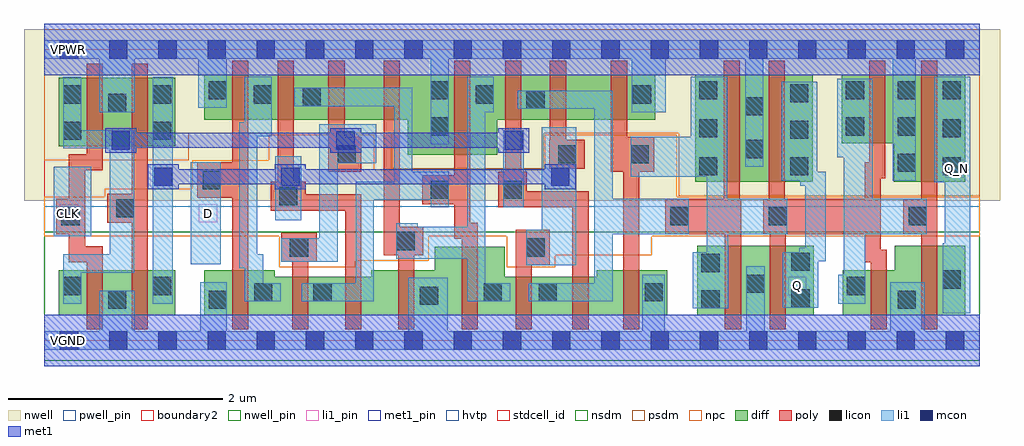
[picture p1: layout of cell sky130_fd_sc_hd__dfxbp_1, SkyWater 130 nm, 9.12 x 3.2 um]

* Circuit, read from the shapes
.subckt sky130_fd_sc_hd__dfxbp_1 CLK D Q Q_N VGND VNB VPB VPWR
XM1 VGND CLK n1 VNB sky130_fd_pr__nfet_01v8 w=0.42 l=0.15
XM2 n2 n1 VGND VNB sky130_fd_pr__nfet_01v8 w=0.42 l=0.15
XM3 n3 D VGND VNB sky130_fd_pr__nfet_01v8 w=0.42 l=0.15
XM4 n4 n1 n3 VNB sky130_fd_pr__nfet_01v8 w=0.36 l=0.15
XM5 n5 n2 n4 VNB sky130_fd_pr__nfet_01v8 w=0.36 l=0.15
XM6 VGND n6 n5 VNB sky130_fd_pr__nfet_01v8 w=0.42 l=0.15
XM7 n6 n4 VGND VNB sky130_fd_pr__nfet_01v8 w=0.64 l=0.15
XM8 n7 n2 n6 VNB sky130_fd_pr__nfet_01v8 w=0.36 l=0.15
XM9 n8 n1 n7 VNB sky130_fd_pr__nfet_01v8 w=0.36 l=0.15
XM10 VGND n9 n8 VNB sky130_fd_pr__nfet_01v8 w=0.42 l=0.15
XM11 VGND n7 n9 VNB sky130_fd_pr__nfet_01v8 w=0.65 l=0.15
XM12 Q n9 VGND VNB sky130_fd_pr__nfet_01v8 w=0.65 l=0.15
XM13 VGND n9 n10 VNB sky130_fd_pr__nfet_01v8 w=0.42 l=0.15
XM14 Q_N n10 VGND VNB sky130_fd_pr__nfet_01v8 w=0.65 l=0.15
XM15 VPWR CLK n1 VPB sky130_fd_pr__pfet_01v8_hvt w=0.64 l=0.15
XM16 n2 n1 VPWR VPB sky130_fd_pr__pfet_01v8_hvt w=0.64 l=0.15
XM17 n3 D VPWR VPB sky130_fd_pr__pfet_01v8_hvt w=0.42 l=0.15
XM18 n4 n2 n3 VPB sky130_fd_pr__pfet_01v8_hvt w=0.42 l=0.15
XM19 n11 n1 n4 VPB sky130_fd_pr__pfet_01v8_hvt w=0.42 l=0.15
XM20 VPWR n6 n11 VPB sky130_fd_pr__pfet_01v8_hvt w=0.42 l=0.15
XM21 n6 n4 VPWR VPB sky130_fd_pr__pfet_01v8_hvt w=0.75 l=0.15
XM22 n7 n1 n6 VPB sky130_fd_pr__pfet_01v8_hvt w=0.42 l=0.15
XM23 n12 n2 n7 VPB sky130_fd_pr__pfet_01v8_hvt w=0.42 l=0.15
XM24 VPWR n9 n12 VPB sky130_fd_pr__pfet_01v8_hvt w=0.42 l=0.15
XM25 VPWR n7 n9 VPB sky130_fd_pr__pfet_01v8_hvt w=1 l=0.15
XM26 Q n9 VPWR VPB sky130_fd_pr__pfet_01v8_hvt w=1 l=0.15
XM27 VPWR n9 n10 VPB sky130_fd_pr__pfet_01v8_hvt w=0.64 l=0.15
XM28 Q_N n10 VPWR VPB sky130_fd_pr__pfet_01v8_hvt w=1 l=0.15
.ends

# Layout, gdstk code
import gdstk
lib = gdstk.Library(unit=1e-6, precision=1e-09)
def R(c, l, rs):  # rectangles x0, y0, x1, y1
    for r in rs: c.add(gdstk.rectangle(r[:2], r[2:], *l))
def A(c, l, x, y, w, h, nx, ny, dx, dy):  # array of equal rectangles
    R(c, l, [(x+i*dx, y+j*dy, x+i*dx+w, y+j*dy+h) for i in range(nx) for j in range(ny)])
def P(c, l, *ps):  # polygons
    for p in ps: c.add(gdstk.Polygon(p, *l))
nwell_pin = (64, 16)
nwell = (64, 20)
diff = (65, 20)
poly = (66, 20)
licon = (66, 44)
li1_pin = (67, 16)
li1 = (67, 20)
mcon = (67, 44)
met1_pin = (68, 16)
met1 = (68, 20)
hvtp = (78, 44)
stdcell_id = (81, 4)
nsdm = (93, 44)
psdm = (94, 20)
npc = (95, 20)
pwell_pin = (122, 16)
boundary2 = (236, 0)

sky130_fd_sc_hd__dfxbp_1 = lib.new_cell('sky130_fd_sc_hd__dfxbp_1')
R(sky130_fd_sc_hd__dfxbp_1, nwell_pin, [(0.145,2.635,0.315,2.805), (0.145,2.635,0.315,2.805)])
R(sky130_fd_sc_hd__dfxbp_1, nwell, [(-0.19,1.305,8.93,2.91)])
R(sky130_fd_sc_hd__dfxbp_1, diff, [(0.135,0.235,1.225,0.655), (6.1,0.235,7.19,0.885), (6.08,1.485,7.18,2.485), (0.135,1.815,1.225,2.455)])
P(sky130_fd_sc_hd__dfxbp_1, diff, [(5.71,2.485),(1.495,2.485),(1.495,2.065),(3.395,2.065),(3.395,1.735),(4.23,1.735),(4.23,2.065),(5.71,2.065)],
  [(5.82,0.655),(5.16,0.655),(5.16,0.595),(4.3,0.595),(4.3,0.875),(3.65,0.875),(3.65,0.655),(3.055,0.655),(3.055,0.595),(2.155,0.595),(2.155,0.655),(1.495,0.655),(1.495,0.235),(5.82,0.235)],
  [(8.605,2.485),(7.45,2.485),(7.45,1.845),(7.935,1.845),(7.935,1.485),(8.605,1.485)],
  [(8.605,0.885),(7.945,0.885),(7.945,0.655),(7.46,0.655),(7.46,0.235),(8.605,0.235)])
P(sky130_fd_sc_hd__dfxbp_1, poly, [(0.545,0.88),(0.38,0.88),(0.38,1.59),(0.545,1.59),(0.545,2.585),(0.395,2.585),(0.395,1.74),(0.23,1.74),(0.23,1.325),(0.11,1.325),(0.11,0.995),(0.23,0.995),(0.23,0.73),(0.395,0.73),(0.395,0.105),(0.545,0.105)],
  [(0.965,2.585),(0.815,2.585),(0.815,1.37),(0.59,1.37),(0.59,1.1),(0.815,1.1),(0.815,0.105),(0.965,0.105)],
  [(1.905,2.615),(1.755,2.615),(1.755,1.665),(1.43,1.665),(1.43,1.335),(1.755,1.335),(1.755,0.105),(1.905,0.105)],
  [(2.545,1.005),(2.215,1.005),(2.215,0.735),(2.315,0.735),(2.315,0.105),(2.465,0.105),(2.465,0.735),(2.545,0.735)],
  [(2.96,1.905),(2.805,1.905),(2.805,2.615),(2.655,2.615),(2.655,1.575),(2.96,1.575)],
  [(2.96,1.365),(2.445,1.365),(2.445,1.485),(2.33,1.485),(2.33,2.615),(2.18,2.615),(2.18,1.485),(2.115,1.485),(2.115,1.215),(2.81,1.215),(2.81,0.105),(2.96,0.105)],
  [(3.54,1.065),(3.32,1.065),(3.32,2.615),(3.17,2.615),(3.17,0.795),(3.305,0.795),(3.305,0.105),(3.455,0.105),(3.455,0.795),(3.54,0.795)],
  [(5.7,1.905),(5.445,1.905),(5.445,2.615),(5.295,2.615),(5.295,1.575),(5.41,1.575),(5.41,0.105),(5.56,0.105),(5.56,1.575),(5.7,1.575)],
  [(6.51,1.325),(6.5,1.325),(6.5,2.615),(6.35,2.615),(6.35,1.325),(5.8,1.325),(5.8,0.995),(6.36,0.995),(6.36,0.105),(6.51,0.105)],
  [(7.87,0.85),(7.815,0.85),(7.815,1.515),(7.86,1.515),(7.86,2.615),(7.71,2.615),(7.71,1.665),(7.665,1.665),(7.665,1.325),(6.92,1.325),(6.92,2.615),(6.77,2.615),(6.77,1.325),(6.72,1.325),(6.72,0.995),(6.78,0.995),(6.78,0.105),(6.93,0.105),(6.93,0.995),(7.665,0.995),(7.665,0.73),(7.72,0.73),(7.72,0.105),(7.87,0.105)],
  [(4.05,1.1),(3.98,1.1),(3.98,2.615),(3.83,2.615),(3.83,1.545),(3.53,1.545),(3.53,1.275),(3.83,1.275),(3.83,0.95),(3.9,0.95),(3.9,0.105),(4.05,0.105)],
  [(4.725,1.035),(4.405,1.035),(4.405,0.105),(4.555,0.105),(4.555,0.705),(4.725,0.705)],
  [(8.345,2.615),(8.195,2.615),(8.195,1.325),(8.025,1.325),(8.025,0.995),(8.195,0.995),(8.195,0.105),(8.345,0.105)],
  [(5.05,1.875),(4.875,1.875),(4.875,2.615),(4.725,2.615),(4.725,1.875),(4.72,1.875),(4.72,1.605),(5.05,1.605)],
  [(5.085,1.395),(4.51,1.395),(4.51,1.575),(4.455,1.575),(4.455,2.615),(4.305,2.615),(4.305,1.575),(4.24,1.575),(4.24,1.245),(4.935,1.245),(4.935,0.105),(5.085,0.105)])
A(sky130_fd_sc_hd__dfxbp_1, licon, 6.12, 1.545, 0.17, 0.17, 1, 3, 0, 0.355)
A(sky130_fd_sc_hd__dfxbp_1, licon, 6.97, 1.545, 0.17, 0.17, 1, 3, 0, 0.34)
A(sky130_fd_sc_hd__dfxbp_1, licon, 8.395, 1.545, 0.17, 0.17, 1, 3, 0, 0.355)
A(sky130_fd_sc_hd__dfxbp_1, licon, 7.975, 1.575, 0.17, 0.17, 1, 3, 0, 0.34)
R(sky130_fd_sc_hd__dfxbp_1, licon, [(0.595,0.295,0.765,0.465), (1.535,0.295,1.705,0.465), (7.975,0.295,8.145,0.465), (6.14,0.3,6.31,0.47), (6.98,0.31,7.15,0.48), (3.51,0.335,3.68,0.505), (1.96,0.365,2.13,0.535), (2.515,0.365,2.685,0.535), (4.105,0.365,4.275,0.535), (4.62,0.365,4.79,0.535), (5.61,0.365,5.78,0.535), (0.175,0.425,0.345,0.595), (1.015,0.425,1.185,0.595), (7.5,0.425,7.67,0.595), (6.56,0.445,6.73,0.615), (8.395,0.485,8.565,0.655), (6.14,0.64,6.31,0.81), (6.98,0.65,7.15,0.82), (2.295,0.785,2.465,0.955), (4.505,0.785,4.675,0.955), (3.29,0.845,3.46,1.015), (0.16,1.075,0.33,1.245), (5.85,1.075,6.02,1.245), (6.77,1.075,6.94,1.245), (8.075,1.075,8.245,1.245), (0.67,1.15,0.84,1.32), (2.195,1.265,2.365,1.435), (3.61,1.325,3.78,1.495), (4.29,1.325,4.46,1.495), (1.48,1.415,1.65,1.585), (2.74,1.655,2.91,1.825), (4.8,1.655,4.97,1.825), (5.48,1.655,5.65,1.825), (6.55,1.705,6.72,1.875), (0.175,1.875,0.345,2.045), (1.015,1.875,1.185,2.045), (3.61,1.915,3.78,2.085), (7.49,1.915,7.66,2.085), (6.55,2.105,6.72,2.275), (0.595,2.135,0.765,2.305), (4.505,2.165,4.675,2.335), (2.415,2.19,2.585,2.36), (0.175,2.215,0.345,2.385), (1.015,2.215,1.185,2.385), (1.955,2.215,2.125,2.385), (4.03,2.215,4.2,2.385), (5.5,2.215,5.67,2.385), (1.535,2.255,1.705,2.425), (3.61,2.255,3.78,2.425), (7.49,2.255,7.66,2.425)])
R(sky130_fd_sc_hd__dfxbp_1, li1_pin, [(6.95,0.425,7.12,0.595), (0.145,1.105,0.315,1.275), (1.445,1.105,1.615,1.275), (8.425,1.52,8.595,1.69)])
R(sky130_fd_sc_hd__dfxbp_1, li1, [(1.015,0.345,1.2,2.465), (1.37,0.715,1.65,1.665), (0.09,0.975,0.44,1.625), (2.16,1.125,2.4,1.72), (4.29,1.245,4.48,1.965)])
P(sky130_fd_sc_hd__dfxbp_1, li1, [(0.84,1.965),(0.345,1.965),(0.345,2.465),(0.175,2.465),(0.175,1.795),(0.61,1.795),(0.61,0.805),(0.175,0.805),(0.175,0.345),(0.345,0.345),(0.345,0.635),(0.84,0.635)],
  [(2.21,0.535),(2.045,0.535),(2.045,0.805),(1.99,0.805),(1.99,1.91),(2.125,1.91),(2.125,2.465),(1.875,2.465),(1.875,2.04),(1.82,2.04),(1.82,0.675),(1.875,0.675),(1.875,0.365),(2.21,0.365)],
  [(3.1,2.02),(2.57,2.02),(2.57,0.955),(2.215,0.955),(2.215,0.735),(2.74,0.735),(2.74,1.655),(3.1,1.655)],
  [(3.78,1.575),(3.44,1.575),(3.44,2.36),(2.335,2.36),(2.335,2.19),(3.27,2.19),(3.27,1.485),(2.91,1.485),(2.91,0.535),(2.405,0.535),(2.405,0.365),(3.08,0.365),(3.08,1.315),(3.61,1.315),(3.61,1.245),(3.78,1.245)],
  [(4.355,0.535),(4.12,0.535),(4.12,2.135),(4.2,2.135),(4.2,2.465),(3.95,2.465),(3.95,1.065),(3.49,1.065),(3.49,1.095),(3.29,1.095),(3.29,0.765),(3.95,0.765),(3.95,0.365),(4.355,0.365)],
  [(4.97,1.995),(4.65,1.995),(4.65,1.035),(4.505,1.035),(4.505,0.705),(4.97,0.705)],
  [(8.74,0.085),(8.225,0.085),(8.225,0.545),(7.905,0.545),(7.905,0.085),(6.73,0.085),(6.73,0.695),(6.56,0.695),(6.56,0.085),(5.795,0.085),(5.795,0.615),(5.585,0.615),(5.585,0.085),(3.77,0.085),(3.77,0.585),(3.4,0.585),(3.4,0.085),(1.705,0.085),(1.705,0.545),(1.455,0.545),(1.455,0.085),(0.845,0.085),(0.845,0.465),(0.515,0.465),(0.515,0.085),(0,0.085),(0,-0.085),(8.74,-0.085)],
  [(6.02,1.325),(5.31,1.325),(5.31,2.335),(4.425,2.335),(4.425,2.165),(5.14,2.165),(5.14,0.535),(4.525,0.535),(4.525,0.365),(5.31,0.365),(5.31,0.995),(6.02,0.995)],
  [(6.94,1.325),(6.38,1.325),(6.38,2.465),(6.04,2.465),(6.04,1.905),(5.48,1.905),(5.48,1.53),(6.19,1.53),(6.19,0.825),(6.06,0.825),(6.06,0.3),(6.39,0.3),(6.39,0.995),(6.94,0.995)],
  [(7.3,1.575),(7.22,1.575),(7.22,2.42),(6.89,2.42),(6.89,1.495),(7.065,1.495),(7.065,1.445),(7.11,1.445),(7.11,0.865),(7.055,0.865),(7.055,0.825),(6.9,0.825),(6.9,0.305),(7.23,0.305),(7.23,0.74),(7.3,0.74)],
  [(8.245,1.325),(7.74,1.325),(7.74,2.445),(7.41,2.445),(7.41,1.715),(7.47,1.715),(7.47,0.615),(7.42,0.615),(7.42,0.345),(7.67,0.345),(7.67,0.995),(8.245,0.995)],
  [(8.65,2.465),(8.315,2.465),(8.315,1.48),(8.415,1.48),(8.415,0.91),(8.395,0.91),(8.395,0.255),(8.65,0.255)],
  [(8.74,2.805),(0,2.805),(0,2.635),(0.515,2.635),(0.515,2.135),(0.845,2.135),(0.845,2.635),(1.44,2.635),(1.44,2.175),(1.705,2.175),(1.705,2.635),(3.61,2.635),(3.61,1.835),(3.78,1.835),(3.78,2.635),(5.49,2.635),(5.49,2.135),(5.805,2.135),(5.805,2.635),(6.55,2.635),(6.55,1.625),(6.72,1.625),(6.72,2.635),(7.93,2.635),(7.93,1.495),(8.145,1.495),(8.145,2.635),(8.74,2.635)])
A(sky130_fd_sc_hd__dfxbp_1, mcon, 0.145, -0.085, 0.17, 0.17, 19, 2, 0.46, 2.72)
R(sky130_fd_sc_hd__dfxbp_1, mcon, [(1.025,1.445,1.195,1.615), (2.215,1.445,2.385,1.615), (4.735,1.445,4.905,1.615), (0.63,1.785,0.8,1.955), (2.73,1.785,2.9,1.955), (4.3,1.785,4.47,1.955)])
R(sky130_fd_sc_hd__dfxbp_1, met1_pin, [(0.145,-0.085,0.315,0.085), (0.145,2.635,0.315,2.805)])
P(sky130_fd_sc_hd__dfxbp_1, met1, [(4.965,1.645),(4.675,1.645),(4.675,1.6),(2.445,1.6),(2.445,1.645),(2.155,1.645),(2.155,1.6),(1.255,1.6),(1.255,1.645),(0.965,1.645),(0.965,1.415),(1.255,1.415),(1.255,1.46),(2.155,1.46),(2.155,1.415),(2.445,1.415),(2.445,1.46),(4.675,1.46),(4.675,1.415),(4.965,1.415)],
  [(4.53,1.985),(4.24,1.985),(4.24,1.94),(2.96,1.94),(2.96,1.985),(2.67,1.985),(2.67,1.94),(0.86,1.94),(0.86,1.985),(0.57,1.985),(0.57,1.755),(0.86,1.755),(0.86,1.8),(2.67,1.8),(2.67,1.755),(2.96,1.755),(2.96,1.8),(4.24,1.8),(4.24,1.755),(4.53,1.755)])
R(sky130_fd_sc_hd__dfxbp_1, hvtp, [(0,1.25,8.74,2.72)])
R(sky130_fd_sc_hd__dfxbp_1, stdcell_id, [(0,0,8.74,2.72)])
R(sky130_fd_sc_hd__dfxbp_1, nsdm, [(0,-0.19,8.74,1.015)])
P(sky130_fd_sc_hd__dfxbp_1, psdm, [(8.74,2.91),(0,2.91),(0,1.685),(1.35,1.685),(1.35,1.935),(3.24,1.935),(3.24,1.605),(4.665,1.605),(4.665,1.935),(5.93,1.935),(5.93,1.355),(8.74,1.355)])
P(sky130_fd_sc_hd__dfxbp_1, npc, [(8.74,1.345),(5.91,1.345),(5.91,1.925),(4.675,1.925),(4.675,1.595),(3.085,1.595),(3.085,1.925),(2.095,1.925),(2.095,1.685),(1.38,1.685),(1.38,1.42),(0.565,1.42),(0.565,1.345),(0,1.345),(0,0.975),(2.195,0.975),(2.195,0.685),(2.905,0.685),(2.905,0.745),(3.59,0.745),(3.59,0.975),(4.32,0.975),(4.32,0.685),(4.775,0.685),(4.775,0.795),(5.675,0.795),(5.675,0.975),(8.74,0.975)])
R(sky130_fd_sc_hd__dfxbp_1, pwell_pin, [(0.145,-0.085,0.315,0.085), (0.145,-0.085,0.315,0.085)])
R(sky130_fd_sc_hd__dfxbp_1, boundary2, [(0,0,8.74,2.72)])
sky130_fd_sc_hd__dfxbp_1.add(gdstk.FlexPath([(0,2.72),(8.74,2.72)], 0.48, ends="flush", simple_path=True, layer=68, datatype=20))  # met1
sky130_fd_sc_hd__dfxbp_1.add(gdstk.FlexPath([(0,0),(8.74,0)], 0.48, ends="flush", simple_path=True, layer=68, datatype=20))  # met1
sky130_fd_sc_hd__dfxbp_1.add(gdstk.Label('VGND', (0.23,0), layer=68, texttype=5))
sky130_fd_sc_hd__dfxbp_1.add(gdstk.Label('VPWR', (0.23,2.72), layer=68, texttype=5))
sky130_fd_sc_hd__dfxbp_1.add(gdstk.Label('Q_N', (8.52,1.61), layer=67, texttype=5))
sky130_fd_sc_hd__dfxbp_1.add(gdstk.Label('D', (1.535,1.19), layer=67, texttype=5))
sky130_fd_sc_hd__dfxbp_1.add(gdstk.Label('CLK', (0.23,1.19), layer=67, texttype=5))
sky130_fd_sc_hd__dfxbp_1.add(gdstk.Label('Q', (7.035,0.51), layer=67, texttype=5))
sky130_fd_sc_hd__dfxbp_1.add(gdstk.Label('VNB', (0.23,0), layer=64, texttype=59))
sky130_fd_sc_hd__dfxbp_1.add(gdstk.Label('VNB', (0.23,0), layer=64, texttype=59))
sky130_fd_sc_hd__dfxbp_1.add(gdstk.Label('VPB', (0.23,2.72), layer=64, texttype=5))
sky130_fd_sc_hd__dfxbp_1.add(gdstk.Label('VPB', (0.23,2.72), layer=64, texttype=5))
sky130_fd_sc_hd__dfxbp_1.add(gdstk.Label('dfxbp_1', (0,0), layer=83, texttype=44))

lib.write_gds('sky130_fd_sc_hd__dfxbp_1.gds')
